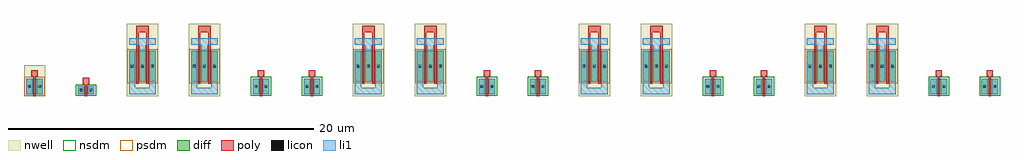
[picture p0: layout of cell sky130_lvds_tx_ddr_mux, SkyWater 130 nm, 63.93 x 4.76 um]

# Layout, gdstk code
import gdstk
lib = gdstk.Library(unit=1e-6, precision=1e-09)
def R(c, l, rs):  # rectangles x0, y0, x1, y1
    for r in rs: c.add(gdstk.rectangle(r[:2], r[2:], *l))
def A(c, l, x, y, w, h, nx, ny, dx, dy):  # array of equal rectangles
    R(c, l, [(x+i*dx, y+j*dy, x+i*dx+w, y+j*dy+h) for i in range(nx) for j in range(ny)])
nwell = (64, 20)
diff = (65, 20)
poly = (66, 20)
licon = (66, 44)
li1 = (67, 20)
nsdm = (93, 44)
psdm = (94, 20)

ddr_mux_xmp_ck__core = lib.new_cell('ddr_mux_XMP_ck__core')
R(ddr_mux_xmp_ck__core, nwell, [(-0.15,-0.15,1.24,1.87)])
R(ddr_mux_xmp_ck__core, diff, [(0,0,1.09,1)])
R(ddr_mux_xmp_ck__core, poly, [(0.47,-0.15,0.62,1), (0.47,1,0.62,1.15), (0.47,1,0.62,1.15), (0.335,1.15,0.755,1.57)])
R(ddr_mux_xmp_ck__core, licon, [(0.125,0.415,0.295,0.585), (0.795,0.415,0.965,0.585)])
R(ddr_mux_xmp_ck__core, li1, [(0,0,0.42,1), (0.67,0,1.09,1)])
R(ddr_mux_xmp_ck__core, psdm, [(-0.125,-0.125,1.215,1.125)])

ddr_mux_xmp_ck = lib.new_cell('ddr_mux_XMP_ck')
ddr_mux_xmp_ck.add(gdstk.Reference(ddr_mux_xmp_ck__core, (0,0)))
ddr_mux_xmp_ck.add(gdstk.Label('XMP_ck.U0_S', (0.21,0.5), layer=67, texttype=20))
ddr_mux_xmp_ck.add(gdstk.Label('XMP_ck.U0_D', (0.88,0.5), layer=67, texttype=20))
ddr_mux_xmp_ck.add(gdstk.Label('XMP_ck.U0_G', (0.545,1.359), layer=66, texttype=20))

ddr_mux_xmn_ck__core = lib.new_cell('ddr_mux_XMN_ck__core')
R(ddr_mux_xmn_ck__core, diff, [(0,0,1.09,0.5)])
R(ddr_mux_xmn_ck__core, poly, [(0.47,-0.15,0.62,0.5), (0.47,0.5,0.62,0.65), (0.47,0.5,0.62,0.65), (0.335,0.65,0.755,1.07)])
R(ddr_mux_xmn_ck__core, licon, [(0.125,0.165,0.295,0.335), (0.795,0.165,0.965,0.335)])
R(ddr_mux_xmn_ck__core, li1, [(0,0,0.42,0.5), (0.67,0,1.09,0.5)])
R(ddr_mux_xmn_ck__core, nsdm, [(-0.125,-0.125,1.215,0.625)])

ddr_mux_xmn_ck = lib.new_cell('ddr_mux_XMN_ck')
ddr_mux_xmn_ck.add(gdstk.Reference(ddr_mux_xmn_ck__core, (0,0)))
ddr_mux_xmn_ck.add(gdstk.Label('XMN_ck.U0_S', (0.21,0.25), layer=67, texttype=20))
ddr_mux_xmn_ck.add(gdstk.Label('XMN_ck.U0_D', (0.88,0.25), layer=67, texttype=20))
ddr_mux_xmn_ck.add(gdstk.Label('XMN_ck.U0_G', (0.545,0.86), layer=66, texttype=20))

ddr_mux_xmpd_a0__core = lib.new_cell('ddr_mux_XMPD_a0__core')
R(ddr_mux_xmpd_a0__core, nwell, [(-0.15,-0.15,1.91,4.61)])
R(ddr_mux_xmpd_a0__core, diff, [(0,0.82,1.76,2.82)])
R(ddr_mux_xmpd_a0__core, poly, [(0.47,0.67,0.62,4.04), (1.14,0.67,1.29,4.04), (0.47,4.04,1.29,4.46)])
A(ddr_mux_xmpd_a0__core, licon, 0.125, 1.735, 0.17, 0.17, 3, 1, 0.67, 0)
A(ddr_mux_xmpd_a0__core, li1, 0, 0.82, 0.42, 2, 3, 1, 0.67, 0)
R(ddr_mux_xmpd_a0__core, li1, [(0,0,1.76,0.42), (0,0.42,0.42,0.82), (1.34,0.42,1.76,0.82), (0.67,2.82,1.09,3.22), (0,3.22,1.76,3.64)])
R(ddr_mux_xmpd_a0__core, psdm, [(-0.125,0.695,1.885,2.945)])

ddr_mux_xmpd_a0 = lib.new_cell('ddr_mux_XMPD_a0')
ddr_mux_xmpd_a0.add(gdstk.Reference(ddr_mux_xmpd_a0__core, (0,0)))
ddr_mux_xmpd_a0.add(gdstk.Label('XMPD_a0.U0_S', (0.21,0.21), layer=67, texttype=20))
ddr_mux_xmpd_a0.add(gdstk.Label('XMPD_a0.U0_D', (1.55,3.43), layer=67, texttype=20))
ddr_mux_xmpd_a0.add(gdstk.Label('XMPD_a0.U0_G', (0.88,4.25), layer=66, texttype=20))

ddr_mux_xmpe_a0__core = lib.new_cell('ddr_mux_XMPE_a0__core')
R(ddr_mux_xmpe_a0__core, nwell, [(-0.15,-0.15,1.91,4.61)])
R(ddr_mux_xmpe_a0__core, diff, [(0,0.82,1.76,2.82)])
R(ddr_mux_xmpe_a0__core, poly, [(0.47,0.67,0.62,4.04), (1.14,0.67,1.29,4.04), (0.47,4.04,1.29,4.46)])
A(ddr_mux_xmpe_a0__core, licon, 0.125, 1.735, 0.17, 0.17, 3, 1, 0.67, 0)
A(ddr_mux_xmpe_a0__core, li1, 0, 0.82, 0.42, 2, 3, 1, 0.67, 0)
R(ddr_mux_xmpe_a0__core, li1, [(0,0,1.76,0.42), (0,0.42,0.42,0.82), (1.34,0.42,1.76,0.82), (0.67,2.82,1.09,3.22), (0,3.22,1.76,3.64)])
R(ddr_mux_xmpe_a0__core, psdm, [(-0.125,0.695,1.885,2.945)])

ddr_mux_xmpe_a0 = lib.new_cell('ddr_mux_XMPE_a0')
ddr_mux_xmpe_a0.add(gdstk.Reference(ddr_mux_xmpe_a0__core, (0,0)))
ddr_mux_xmpe_a0.add(gdstk.Label('XMPE_a0.U0_S', (0.21,0.21), layer=67, texttype=20))
ddr_mux_xmpe_a0.add(gdstk.Label('XMPE_a0.U0_D', (1.55,3.43), layer=67, texttype=20))
ddr_mux_xmpe_a0.add(gdstk.Label('XMPE_a0.U0_G', (0.88,4.25), layer=66, texttype=20))

ddr_mux_xmne_a0__core = lib.new_cell('ddr_mux_XMNE_a0__core')
R(ddr_mux_xmne_a0__core, diff, [(0,0,1.09,1)])
R(ddr_mux_xmne_a0__core, poly, [(0.47,-0.15,0.62,1), (0.47,1,0.62,1.15), (0.47,1,0.62,1.15), (0.335,1.15,0.755,1.57)])
R(ddr_mux_xmne_a0__core, licon, [(0.125,0.415,0.295,0.585), (0.795,0.415,0.965,0.585)])
R(ddr_mux_xmne_a0__core, li1, [(0,0,0.42,1), (0.67,0,1.09,1)])
R(ddr_mux_xmne_a0__core, nsdm, [(-0.125,-0.125,1.215,1.125)])

ddr_mux_xmne_a0 = lib.new_cell('ddr_mux_XMNE_a0')
ddr_mux_xmne_a0.add(gdstk.Reference(ddr_mux_xmne_a0__core, (0,0)))
ddr_mux_xmne_a0.add(gdstk.Label('XMNE_a0.U0_S', (0.21,0.5), layer=67, texttype=20))
ddr_mux_xmne_a0.add(gdstk.Label('XMNE_a0.U0_D', (0.88,0.5), layer=67, texttype=20))
ddr_mux_xmne_a0.add(gdstk.Label('XMNE_a0.U0_G', (0.545,1.359), layer=66, texttype=20))

ddr_mux_xmnd_a0__core = lib.new_cell('ddr_mux_XMND_a0__core')
R(ddr_mux_xmnd_a0__core, diff, [(0,0,1.09,1)])
R(ddr_mux_xmnd_a0__core, poly, [(0.47,-0.15,0.62,1), (0.47,1,0.62,1.15), (0.47,1,0.62,1.15), (0.335,1.15,0.755,1.57)])
R(ddr_mux_xmnd_a0__core, licon, [(0.125,0.415,0.295,0.585), (0.795,0.415,0.965,0.585)])
R(ddr_mux_xmnd_a0__core, li1, [(0,0,0.42,1), (0.67,0,1.09,1)])
R(ddr_mux_xmnd_a0__core, nsdm, [(-0.125,-0.125,1.215,1.125)])

ddr_mux_xmnd_a0 = lib.new_cell('ddr_mux_XMND_a0')
ddr_mux_xmnd_a0.add(gdstk.Reference(ddr_mux_xmnd_a0__core, (0,0)))
ddr_mux_xmnd_a0.add(gdstk.Label('XMND_a0.U0_S', (0.21,0.5), layer=67, texttype=20))
ddr_mux_xmnd_a0.add(gdstk.Label('XMND_a0.U0_D', (0.88,0.5), layer=67, texttype=20))
ddr_mux_xmnd_a0.add(gdstk.Label('XMND_a0.U0_G', (0.545,1.359), layer=66, texttype=20))

ddr_mux_xmpd_a1__core = lib.new_cell('ddr_mux_XMPD_a1__core')
R(ddr_mux_xmpd_a1__core, nwell, [(-0.15,-0.15,1.91,4.61)])
R(ddr_mux_xmpd_a1__core, diff, [(0,0.82,1.76,2.82)])
R(ddr_mux_xmpd_a1__core, poly, [(0.47,0.67,0.62,4.04), (1.14,0.67,1.29,4.04), (0.47,4.04,1.29,4.46)])
A(ddr_mux_xmpd_a1__core, licon, 0.125, 1.735, 0.17, 0.17, 3, 1, 0.67, 0)
A(ddr_mux_xmpd_a1__core, li1, 0, 0.82, 0.42, 2, 3, 1, 0.67, 0)
R(ddr_mux_xmpd_a1__core, li1, [(0,0,1.76,0.42), (0,0.42,0.42,0.82), (1.34,0.42,1.76,0.82), (0.67,2.82,1.09,3.22), (0,3.22,1.76,3.64)])
R(ddr_mux_xmpd_a1__core, psdm, [(-0.125,0.695,1.885,2.945)])

ddr_mux_xmpd_a1 = lib.new_cell('ddr_mux_XMPD_a1')
ddr_mux_xmpd_a1.add(gdstk.Reference(ddr_mux_xmpd_a1__core, (0,0)))
ddr_mux_xmpd_a1.add(gdstk.Label('XMPD_a1.U0_S', (0.21,0.21), layer=67, texttype=20))
ddr_mux_xmpd_a1.add(gdstk.Label('XMPD_a1.U0_D', (1.55,3.43), layer=67, texttype=20))
ddr_mux_xmpd_a1.add(gdstk.Label('XMPD_a1.U0_G', (0.88,4.25), layer=66, texttype=20))

ddr_mux_xmpe_a1__core = lib.new_cell('ddr_mux_XMPE_a1__core')
R(ddr_mux_xmpe_a1__core, nwell, [(-0.15,-0.15,1.91,4.61)])
R(ddr_mux_xmpe_a1__core, diff, [(0,0.82,1.76,2.82)])
R(ddr_mux_xmpe_a1__core, poly, [(0.47,0.67,0.62,4.04), (1.14,0.67,1.29,4.04), (0.47,4.04,1.29,4.46)])
A(ddr_mux_xmpe_a1__core, licon, 0.125, 1.735, 0.17, 0.17, 3, 1, 0.67, 0)
A(ddr_mux_xmpe_a1__core, li1, 0, 0.82, 0.42, 2, 3, 1, 0.67, 0)
R(ddr_mux_xmpe_a1__core, li1, [(0,0,1.76,0.42), (0,0.42,0.42,0.82), (1.34,0.42,1.76,0.82), (0.67,2.82,1.09,3.22), (0,3.22,1.76,3.64)])
R(ddr_mux_xmpe_a1__core, psdm, [(-0.125,0.695,1.885,2.945)])

ddr_mux_xmpe_a1 = lib.new_cell('ddr_mux_XMPE_a1')
ddr_mux_xmpe_a1.add(gdstk.Reference(ddr_mux_xmpe_a1__core, (0,0)))
ddr_mux_xmpe_a1.add(gdstk.Label('XMPE_a1.U0_S', (0.21,0.21), layer=67, texttype=20))
ddr_mux_xmpe_a1.add(gdstk.Label('XMPE_a1.U0_D', (1.55,3.43), layer=67, texttype=20))
ddr_mux_xmpe_a1.add(gdstk.Label('XMPE_a1.U0_G', (0.88,4.25), layer=66, texttype=20))

ddr_mux_xmne_a1__core = lib.new_cell('ddr_mux_XMNE_a1__core')
R(ddr_mux_xmne_a1__core, diff, [(0,0,1.09,1)])
R(ddr_mux_xmne_a1__core, poly, [(0.47,-0.15,0.62,1), (0.47,1,0.62,1.15), (0.47,1,0.62,1.15), (0.335,1.15,0.755,1.57)])
R(ddr_mux_xmne_a1__core, licon, [(0.125,0.415,0.295,0.585), (0.795,0.415,0.965,0.585)])
R(ddr_mux_xmne_a1__core, li1, [(0,0,0.42,1), (0.67,0,1.09,1)])
R(ddr_mux_xmne_a1__core, nsdm, [(-0.125,-0.125,1.215,1.125)])

ddr_mux_xmne_a1 = lib.new_cell('ddr_mux_XMNE_a1')
ddr_mux_xmne_a1.add(gdstk.Reference(ddr_mux_xmne_a1__core, (0,0)))
ddr_mux_xmne_a1.add(gdstk.Label('XMNE_a1.U0_S', (0.21,0.5), layer=67, texttype=20))
ddr_mux_xmne_a1.add(gdstk.Label('XMNE_a1.U0_D', (0.88,0.5), layer=67, texttype=20))
ddr_mux_xmne_a1.add(gdstk.Label('XMNE_a1.U0_G', (0.545,1.359), layer=66, texttype=20))

ddr_mux_xmnd_a1__core = lib.new_cell('ddr_mux_XMND_a1__core')
R(ddr_mux_xmnd_a1__core, diff, [(0,0,1.09,1)])
R(ddr_mux_xmnd_a1__core, poly, [(0.47,-0.15,0.62,1), (0.47,1,0.62,1.15), (0.47,1,0.62,1.15), (0.335,1.15,0.755,1.57)])
R(ddr_mux_xmnd_a1__core, licon, [(0.125,0.415,0.295,0.585), (0.795,0.415,0.965,0.585)])
R(ddr_mux_xmnd_a1__core, li1, [(0,0,0.42,1), (0.67,0,1.09,1)])
R(ddr_mux_xmnd_a1__core, nsdm, [(-0.125,-0.125,1.215,1.125)])

ddr_mux_xmnd_a1 = lib.new_cell('ddr_mux_XMND_a1')
ddr_mux_xmnd_a1.add(gdstk.Reference(ddr_mux_xmnd_a1__core, (0,0)))
ddr_mux_xmnd_a1.add(gdstk.Label('XMND_a1.U0_S', (0.21,0.5), layer=67, texttype=20))
ddr_mux_xmnd_a1.add(gdstk.Label('XMND_a1.U0_D', (0.88,0.5), layer=67, texttype=20))
ddr_mux_xmnd_a1.add(gdstk.Label('XMND_a1.U0_G', (0.545,1.359), layer=66, texttype=20))

ddr_mux_xmpd_b0__core = lib.new_cell('ddr_mux_XMPD_b0__core')
R(ddr_mux_xmpd_b0__core, nwell, [(-0.15,-0.15,1.91,4.61)])
R(ddr_mux_xmpd_b0__core, diff, [(0,0.82,1.76,2.82)])
R(ddr_mux_xmpd_b0__core, poly, [(0.47,0.67,0.62,4.04), (1.14,0.67,1.29,4.04), (0.47,4.04,1.29,4.46)])
A(ddr_mux_xmpd_b0__core, licon, 0.125, 1.735, 0.17, 0.17, 3, 1, 0.67, 0)
A(ddr_mux_xmpd_b0__core, li1, 0, 0.82, 0.42, 2, 3, 1, 0.67, 0)
R(ddr_mux_xmpd_b0__core, li1, [(0,0,1.76,0.42), (0,0.42,0.42,0.82), (1.34,0.42,1.76,0.82), (0.67,2.82,1.09,3.22), (0,3.22,1.76,3.64)])
R(ddr_mux_xmpd_b0__core, psdm, [(-0.125,0.695,1.885,2.945)])

ddr_mux_xmpd_b0 = lib.new_cell('ddr_mux_XMPD_b0')
ddr_mux_xmpd_b0.add(gdstk.Reference(ddr_mux_xmpd_b0__core, (0,0)))
ddr_mux_xmpd_b0.add(gdstk.Label('XMPD_b0.U0_S', (0.21,0.21), layer=67, texttype=20))
ddr_mux_xmpd_b0.add(gdstk.Label('XMPD_b0.U0_D', (1.55,3.43), layer=67, texttype=20))
ddr_mux_xmpd_b0.add(gdstk.Label('XMPD_b0.U0_G', (0.88,4.25), layer=66, texttype=20))

ddr_mux_xmpe_b0__core = lib.new_cell('ddr_mux_XMPE_b0__core')
R(ddr_mux_xmpe_b0__core, nwell, [(-0.15,-0.15,1.91,4.61)])
R(ddr_mux_xmpe_b0__core, diff, [(0,0.82,1.76,2.82)])
R(ddr_mux_xmpe_b0__core, poly, [(0.47,0.67,0.62,4.04), (1.14,0.67,1.29,4.04), (0.47,4.04,1.29,4.46)])
A(ddr_mux_xmpe_b0__core, licon, 0.125, 1.735, 0.17, 0.17, 3, 1, 0.67, 0)
A(ddr_mux_xmpe_b0__core, li1, 0, 0.82, 0.42, 2, 3, 1, 0.67, 0)
R(ddr_mux_xmpe_b0__core, li1, [(0,0,1.76,0.42), (0,0.42,0.42,0.82), (1.34,0.42,1.76,0.82), (0.67,2.82,1.09,3.22), (0,3.22,1.76,3.64)])
R(ddr_mux_xmpe_b0__core, psdm, [(-0.125,0.695,1.885,2.945)])

ddr_mux_xmpe_b0 = lib.new_cell('ddr_mux_XMPE_b0')
ddr_mux_xmpe_b0.add(gdstk.Reference(ddr_mux_xmpe_b0__core, (0,0)))
ddr_mux_xmpe_b0.add(gdstk.Label('XMPE_b0.U0_S', (0.21,0.21), layer=67, texttype=20))
ddr_mux_xmpe_b0.add(gdstk.Label('XMPE_b0.U0_D', (1.55,3.43), layer=67, texttype=20))
ddr_mux_xmpe_b0.add(gdstk.Label('XMPE_b0.U0_G', (0.88,4.25), layer=66, texttype=20))

ddr_mux_xmne_b0__core = lib.new_cell('ddr_mux_XMNE_b0__core')
R(ddr_mux_xmne_b0__core, diff, [(0,0,1.09,1)])
R(ddr_mux_xmne_b0__core, poly, [(0.47,-0.15,0.62,1), (0.47,1,0.62,1.15), (0.47,1,0.62,1.15), (0.335,1.15,0.755,1.57)])
R(ddr_mux_xmne_b0__core, licon, [(0.125,0.415,0.295,0.585), (0.795,0.415,0.965,0.585)])
R(ddr_mux_xmne_b0__core, li1, [(0,0,0.42,1), (0.67,0,1.09,1)])
R(ddr_mux_xmne_b0__core, nsdm, [(-0.125,-0.125,1.215,1.125)])

ddr_mux_xmne_b0 = lib.new_cell('ddr_mux_XMNE_b0')
ddr_mux_xmne_b0.add(gdstk.Reference(ddr_mux_xmne_b0__core, (0,0)))
ddr_mux_xmne_b0.add(gdstk.Label('XMNE_b0.U0_S', (0.21,0.5), layer=67, texttype=20))
ddr_mux_xmne_b0.add(gdstk.Label('XMNE_b0.U0_D', (0.88,0.5), layer=67, texttype=20))
ddr_mux_xmne_b0.add(gdstk.Label('XMNE_b0.U0_G', (0.545,1.359), layer=66, texttype=20))

ddr_mux_xmnd_b0__core = lib.new_cell('ddr_mux_XMND_b0__core')
R(ddr_mux_xmnd_b0__core, diff, [(0,0,1.09,1)])
R(ddr_mux_xmnd_b0__core, poly, [(0.47,-0.15,0.62,1), (0.47,1,0.62,1.15), (0.47,1,0.62,1.15), (0.335,1.15,0.755,1.57)])
R(ddr_mux_xmnd_b0__core, licon, [(0.125,0.415,0.295,0.585), (0.795,0.415,0.965,0.585)])
R(ddr_mux_xmnd_b0__core, li1, [(0,0,0.42,1), (0.67,0,1.09,1)])
R(ddr_mux_xmnd_b0__core, nsdm, [(-0.125,-0.125,1.215,1.125)])

ddr_mux_xmnd_b0 = lib.new_cell('ddr_mux_XMND_b0')
ddr_mux_xmnd_b0.add(gdstk.Reference(ddr_mux_xmnd_b0__core, (0,0)))
ddr_mux_xmnd_b0.add(gdstk.Label('XMND_b0.U0_S', (0.21,0.5), layer=67, texttype=20))
ddr_mux_xmnd_b0.add(gdstk.Label('XMND_b0.U0_D', (0.88,0.5), layer=67, texttype=20))
ddr_mux_xmnd_b0.add(gdstk.Label('XMND_b0.U0_G', (0.545,1.359), layer=66, texttype=20))

ddr_mux_xmpd_b1__core = lib.new_cell('ddr_mux_XMPD_b1__core')
R(ddr_mux_xmpd_b1__core, nwell, [(-0.15,-0.15,1.91,4.61)])
R(ddr_mux_xmpd_b1__core, diff, [(0,0.82,1.76,2.82)])
R(ddr_mux_xmpd_b1__core, poly, [(0.47,0.67,0.62,4.04), (1.14,0.67,1.29,4.04), (0.47,4.04,1.29,4.46)])
A(ddr_mux_xmpd_b1__core, licon, 0.125, 1.735, 0.17, 0.17, 3, 1, 0.67, 0)
A(ddr_mux_xmpd_b1__core, li1, 0, 0.82, 0.42, 2, 3, 1, 0.67, 0)
R(ddr_mux_xmpd_b1__core, li1, [(0,0,1.76,0.42), (0,0.42,0.42,0.82), (1.34,0.42,1.76,0.82), (0.67,2.82,1.09,3.22), (0,3.22,1.76,3.64)])
R(ddr_mux_xmpd_b1__core, psdm, [(-0.125,0.695,1.885,2.945)])

ddr_mux_xmpd_b1 = lib.new_cell('ddr_mux_XMPD_b1')
ddr_mux_xmpd_b1.add(gdstk.Reference(ddr_mux_xmpd_b1__core, (0,0)))
ddr_mux_xmpd_b1.add(gdstk.Label('XMPD_b1.U0_S', (0.21,0.21), layer=67, texttype=20))
ddr_mux_xmpd_b1.add(gdstk.Label('XMPD_b1.U0_D', (1.55,3.43), layer=67, texttype=20))
ddr_mux_xmpd_b1.add(gdstk.Label('XMPD_b1.U0_G', (0.88,4.25), layer=66, texttype=20))

ddr_mux_xmpe_b1__core = lib.new_cell('ddr_mux_XMPE_b1__core')
R(ddr_mux_xmpe_b1__core, nwell, [(-0.15,-0.15,1.91,4.61)])
R(ddr_mux_xmpe_b1__core, diff, [(0,0.82,1.76,2.82)])
R(ddr_mux_xmpe_b1__core, poly, [(0.47,0.67,0.62,4.04), (1.14,0.67,1.29,4.04), (0.47,4.04,1.29,4.46)])
A(ddr_mux_xmpe_b1__core, licon, 0.125, 1.735, 0.17, 0.17, 3, 1, 0.67, 0)
A(ddr_mux_xmpe_b1__core, li1, 0, 0.82, 0.42, 2, 3, 1, 0.67, 0)
R(ddr_mux_xmpe_b1__core, li1, [(0,0,1.76,0.42), (0,0.42,0.42,0.82), (1.34,0.42,1.76,0.82), (0.67,2.82,1.09,3.22), (0,3.22,1.76,3.64)])
R(ddr_mux_xmpe_b1__core, psdm, [(-0.125,0.695,1.885,2.945)])

ddr_mux_xmpe_b1 = lib.new_cell('ddr_mux_XMPE_b1')
ddr_mux_xmpe_b1.add(gdstk.Reference(ddr_mux_xmpe_b1__core, (0,0)))
ddr_mux_xmpe_b1.add(gdstk.Label('XMPE_b1.U0_S', (0.21,0.21), layer=67, texttype=20))
ddr_mux_xmpe_b1.add(gdstk.Label('XMPE_b1.U0_D', (1.55,3.43), layer=67, texttype=20))
ddr_mux_xmpe_b1.add(gdstk.Label('XMPE_b1.U0_G', (0.88,4.25), layer=66, texttype=20))

ddr_mux_xmne_b1__core = lib.new_cell('ddr_mux_XMNE_b1__core')
R(ddr_mux_xmne_b1__core, diff, [(0,0,1.09,1)])
R(ddr_mux_xmne_b1__core, poly, [(0.47,-0.15,0.62,1), (0.47,1,0.62,1.15), (0.47,1,0.62,1.15), (0.335,1.15,0.755,1.57)])
R(ddr_mux_xmne_b1__core, licon, [(0.125,0.415,0.295,0.585), (0.795,0.415,0.965,0.585)])
R(ddr_mux_xmne_b1__core, li1, [(0,0,0.42,1), (0.67,0,1.09,1)])
R(ddr_mux_xmne_b1__core, nsdm, [(-0.125,-0.125,1.215,1.125)])

ddr_mux_xmne_b1 = lib.new_cell('ddr_mux_XMNE_b1')
ddr_mux_xmne_b1.add(gdstk.Reference(ddr_mux_xmne_b1__core, (0,0)))
ddr_mux_xmne_b1.add(gdstk.Label('XMNE_b1.U0_S', (0.21,0.5), layer=67, texttype=20))
ddr_mux_xmne_b1.add(gdstk.Label('XMNE_b1.U0_D', (0.88,0.5), layer=67, texttype=20))
ddr_mux_xmne_b1.add(gdstk.Label('XMNE_b1.U0_G', (0.545,1.359), layer=66, texttype=20))

ddr_mux_xmnd_b1__core = lib.new_cell('ddr_mux_XMND_b1__core')
R(ddr_mux_xmnd_b1__core, diff, [(0,0,1.09,1)])
R(ddr_mux_xmnd_b1__core, poly, [(0.47,-0.15,0.62,1), (0.47,1,0.62,1.15), (0.47,1,0.62,1.15), (0.335,1.15,0.755,1.57)])
R(ddr_mux_xmnd_b1__core, licon, [(0.125,0.415,0.295,0.585), (0.795,0.415,0.965,0.585)])
R(ddr_mux_xmnd_b1__core, li1, [(0,0,0.42,1), (0.67,0,1.09,1)])
R(ddr_mux_xmnd_b1__core, nsdm, [(-0.125,-0.125,1.215,1.125)])

ddr_mux_xmnd_b1 = lib.new_cell('ddr_mux_XMND_b1')
ddr_mux_xmnd_b1.add(gdstk.Reference(ddr_mux_xmnd_b1__core, (0,0)))
ddr_mux_xmnd_b1.add(gdstk.Label('XMND_b1.U0_S', (0.21,0.5), layer=67, texttype=20))
ddr_mux_xmnd_b1.add(gdstk.Label('XMND_b1.U0_D', (0.88,0.5), layer=67, texttype=20))
ddr_mux_xmnd_b1.add(gdstk.Label('XMND_b1.U0_G', (0.545,1.359), layer=66, texttype=20))

sky130_lvds_tx_ddr_mux = lib.new_cell('sky130_lvds_tx_ddr_mux')
sky130_lvds_tx_ddr_mux.add(gdstk.Reference(ddr_mux_xmp_ck, (0.15,0.15)))
sky130_lvds_tx_ddr_mux.add(gdstk.Reference(ddr_mux_xmn_ck, (3.515,0.15)))
sky130_lvds_tx_ddr_mux.add(gdstk.Reference(ddr_mux_xmpd_a0, (6.88,0.15)))
sky130_lvds_tx_ddr_mux.add(gdstk.Reference(ddr_mux_xmpe_a0, (10.94,0.15)))
sky130_lvds_tx_ddr_mux.add(gdstk.Reference(ddr_mux_xmne_a0, (14.975,0.15)))
sky130_lvds_tx_ddr_mux.add(gdstk.Reference(ddr_mux_xmnd_a0, (18.315,0.15)))
sky130_lvds_tx_ddr_mux.add(gdstk.Reference(ddr_mux_xmpd_a1, (21.68,0.15)))
sky130_lvds_tx_ddr_mux.add(gdstk.Reference(ddr_mux_xmpe_a1, (25.74,0.15)))
sky130_lvds_tx_ddr_mux.add(gdstk.Reference(ddr_mux_xmne_a1, (29.775,0.15)))
sky130_lvds_tx_ddr_mux.add(gdstk.Reference(ddr_mux_xmnd_a1, (33.115,0.15)))
sky130_lvds_tx_ddr_mux.add(gdstk.Reference(ddr_mux_xmpd_b0, (36.48,0.15)))
sky130_lvds_tx_ddr_mux.add(gdstk.Reference(ddr_mux_xmpe_b0, (40.54,0.15)))
sky130_lvds_tx_ddr_mux.add(gdstk.Reference(ddr_mux_xmne_b0, (44.575,0.15)))
sky130_lvds_tx_ddr_mux.add(gdstk.Reference(ddr_mux_xmnd_b0, (47.915,0.15)))
sky130_lvds_tx_ddr_mux.add(gdstk.Reference(ddr_mux_xmpd_b1, (51.28,0.15)))
sky130_lvds_tx_ddr_mux.add(gdstk.Reference(ddr_mux_xmpe_b1, (55.34,0.15)))
sky130_lvds_tx_ddr_mux.add(gdstk.Reference(ddr_mux_xmne_b1, (59.375,0.15)))
sky130_lvds_tx_ddr_mux.add(gdstk.Reference(ddr_mux_xmnd_b1, (62.715,0.15)))

lib.write_gds('sky130_lvds_tx_ddr_mux.gds')
